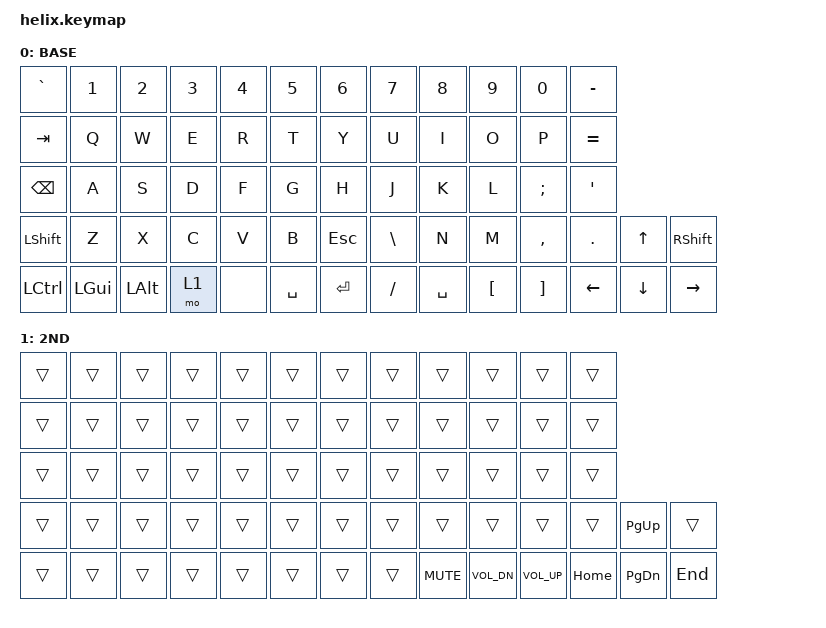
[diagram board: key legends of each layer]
/*
 * FelixKeeb + Prospector Dongle keymap
 * Based on layout from: https://docs.google.com/spreadsheets/d/1UymUOe9Zpj555tNwIY8a-8gZLkUYepfPnqweN8LK8dA
 *
 * Matrix layout (64 keys total — helix-compatible):
 *   Rows 0-2: 12 keys per row (6 left + 6 right, center extra columns absent)
 *   Rows 3-4: 14 keys per row (7 left + 7 right, includes inner centre keys)
 *
 * Reading order in bindings matches the helix matrix transform:
 *   Row 0: RC(0,0-5) then RC(0,8-13)
 *   Row 1: RC(1,0-5) then RC(1,8-13)
 *   Row 2: RC(2,0-5) then RC(2,8-13)
 *   Row 3: RC(3,0-6) then RC(3,7-13)
 *   Row 4: RC(4,0-6) then RC(4,7-13)
 */

#include <behaviors.dtsi>
#include <dt-bindings/zmk/keys.h>
#include <dt-bindings/zmk/bt.h>
#include <dt-bindings/zmk/ext_power.h>

/ {
    keymap {
        compatible = "zmk,keymap";

        // ─────────────────────────────────────────────────────────────────
        // Layer 0 – BASE
        // ┌──────┬───┬───┬───┬───┬───┐               ┌───┬───┬───┬───┬───┬─────┐
        // │  `~  │ 1 │ 2 │ 3 │ 4 │ 5 │               │ 6 │ 7 │ 8 │ 9 │ 0 │  -  │
        // ├──────┼───┼───┼───┼───┼───┤               ├───┼───┼───┼───┼───┼─────┤
        // │ TAB  │ Q │ W │ E │ R │ T │               │ Y │ U │ I │ O │ P │  =  │
        // ├──────┼───┼───┼───┼───┼───┤               ├───┼───┼───┼───┼───┼─────┤
        // │ BSPC │ A │ S │ D │ F │ G │               │ H │ J │ K │ L │ ; │  '  │
        // ├──────┼───┼───┼───┼───┼───┼─────┐   ┌────┼───┼───┼───┼───┼───┼─────┤
        // │ SHFT │ Z │ X │ C │ V │ B │ ESC │   │ \  │ N │ M │ , │ . │ ↑ │SHFT │
        // ├──────┼───┼───┼───┼───┼───┼─────┤   ├────┼───┼───┼───┼───┼───┼─────┤
        // │ CTRL │GUI│ALT│MO1│   │SPC│ ENT │   │ /  │SPC│ [ │ ] │ ← │ ↓ │  →  │
        // └──────┴───┴───┴───┴───┴───┴─────┘   └────┴───┴───┴───┴───┴───┴─────┘
        // ─────────────────────────────────────────────────────────────────
        default_layer {
            display-name = "BASE";
            bindings = <
// Row 0 (12 keys) ─────────────────────────────────────────────────────────────
&kp GRAVE  &kp N1    &kp N2    &kp N3    &kp N4    &kp N5    &kp N6    &kp N7    &kp N8    &kp N9    &kp N0    &kp MINUS
// Row 1 (12 keys) ─────────────────────────────────────────────────────────────
&kp TAB    &kp Q     &kp W     &kp E     &kp R     &kp T     &kp Y     &kp U     &kp I     &kp O     &kp P     &kp EQUAL
// Row 2 (12 keys) ─────────────────────────────────────────────────────────────
&kp BSPC   &kp A     &kp S     &kp D     &kp F     &kp G     &kp H     &kp J     &kp K     &kp L     &kp SEMI  &kp SQT
// Row 3 (14 keys — includes inner centre keys ESC and \) ──────────────────────
&kp LSHFT  &kp Z     &kp X     &kp C     &kp V     &kp B     &kp ESC   &kp BSLH  &kp N     &kp M     &kp COMMA &kp DOT   &kp UP    &kp RSHFT
// Row 4 (14 keys — includes inner centre keys ENT and /) ──────────────────────
&kp LCTRL  &kp LGUI  &kp LALT  &mo 1     &none     &kp SPACE &kp RET   &kp FSLH  &kp SPACE &kp LBKT  &kp RBKT  &kp LEFT  &kp DOWN  &kp RIGHT
            >;
        };

        // ─────────────────────────────────────────────────────────────────
        // Layer 1 – 2ND  (active only while MO1 key is held — "temp 2nd layer")
        // &mo 1 is a ZMK *momentary* layer — it is NOT a hardware Fn key.
        // The layer activates exactly while the key is held and drops away on release.
        // Unspecified keys fall through to BASE via &trans.
        // ┌──────┬───┬───┬───┬───┬───┐               ┌─────┬──────┬──────┬──────┬─────┬─────┐
        // │      │   │   │   │   │   │               │     │      │      │      │     │     │
        // ├──────┼───┼───┼───┼───┼───┤               ├─────┼──────┼──────┼──────┼─────┼─────┤
        // │      │   │   │   │   │   │               │     │      │      │      │     │     │
        // ├──────┼───┼───┼───┼───┼───┤               ├─────┼──────┼──────┼──────┼─────┼─────┤
        // │      │   │   │   │   │   │               │     │      │      │      │     │     │
        // ├──────┼───┼───┼───┼───┼───┼─────┐   ┌────┼─────┼──────┼──────┼──────┼─────┼─────┤
        // │      │   │   │   │   │   │     │   │    │     │      │      │      │PGUP │     │
        // ├──────┼───┼───┼───┼───┼───┼─────┤   ├────┼─────┼──────┼──────┼──────┼─────┼─────┤
        // │      │   │   │MO1│   │   │     │   │    │MUTE │VOLDN │VOLUP │ HOME │PGDN │ END │
        // └──────┴───┴───┴───┴───┴───┴─────┘   └────┴─────┴──────┴──────┴──────┴─────┴─────┘
        // ─────────────────────────────────────────────────────────────────
        fn_layer {
            display-name = "2ND";
            bindings = <
// Row 0 (12 keys)
&trans  &trans  &trans  &trans  &trans  &trans  &trans  &trans  &trans  &trans  &trans  &trans
// Row 1 (12 keys)
&trans  &trans  &trans  &trans  &trans  &trans  &trans  &trans  &trans  &trans  &trans  &trans
// Row 2 (12 keys)
&trans  &trans  &trans  &trans  &trans  &trans  &trans  &trans  &trans  &trans  &trans  &trans
// Row 3 (14 keys)  — ↑ becomes Page Up
&trans  &trans  &trans  &trans  &trans  &trans  &trans  &trans  &trans  &trans  &trans  &trans  &kp PG_UP  &trans
// Row 4 (14 keys)  — right-side cluster: space→mute, [→vol↓, ]→vol↑, ←→home, ↓→pgdn, →→end
// MO1 key (&trans here) keeps the layer active while held — it falls through to &mo 1 on BASE
&trans  &trans  &trans  &trans  &trans  &trans  &trans  &trans  &kp C_MUTE  &kp C_VOL_DN  &kp C_VOL_UP  &kp HOME  &kp PG_DN  &kp END
            >;
        };
    };
};
